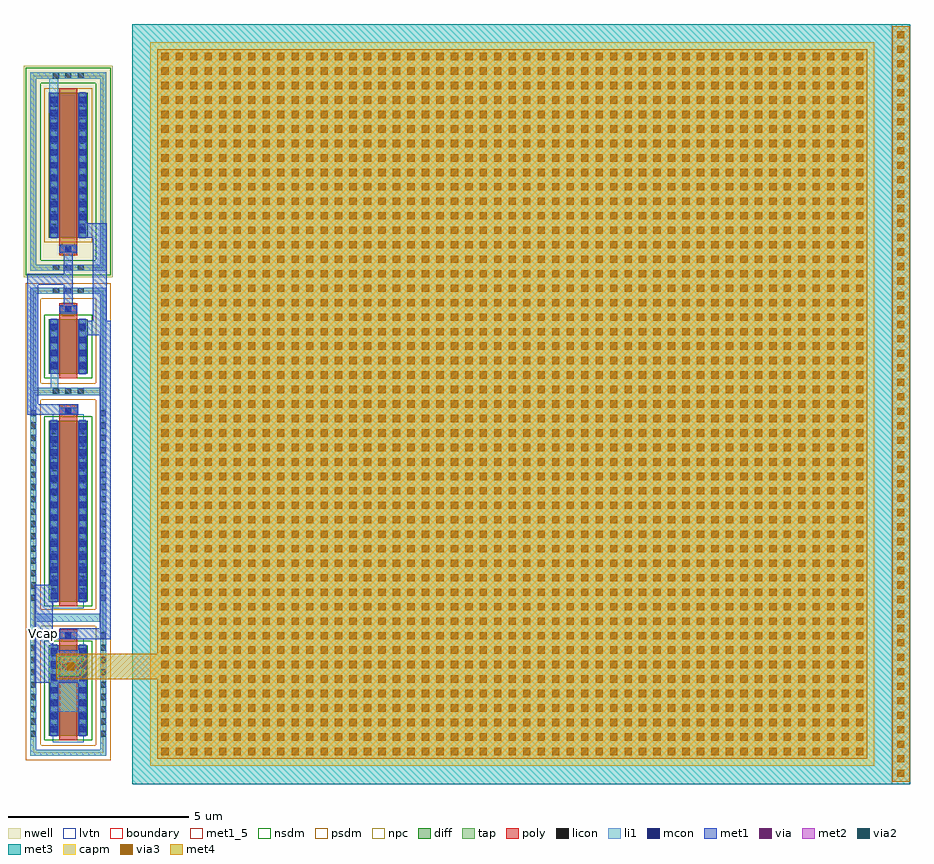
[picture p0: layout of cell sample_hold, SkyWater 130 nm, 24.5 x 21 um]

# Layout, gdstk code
import gdstk
lib = gdstk.Library(unit=1e-6, precision=1e-09)
def R(c, l, rs):  # rectangles x0, y0, x1, y1
    for r in rs: c.add(gdstk.rectangle(r[:2], r[2:], *l))
def A(c, l, x, y, w, h, nx, ny, dx, dy):  # array of equal rectangles
    R(c, l, [(x+i*dx, y+j*dy, x+i*dx+w, y+j*dy+h) for i in range(nx) for j in range(ny)])
nwell = (64, 20)
diff = (65, 20)
tap = (65, 44)
poly = (66, 20)
licon = (66, 44)
li1 = (67, 20)
mcon = (67, 44)
met1_5 = (68, 5)
met1 = (68, 20)
via = (68, 44)
met2 = (69, 20)
via2 = (69, 44)
met3 = (70, 20)
via3 = (70, 44)
met4 = (71, 20)
capm = (89, 44)
nsdm = (93, 44)
psdm = (94, 20)
npc = (95, 20)
lvtn = (125, 44)
boundary = (235, 4)

sky130_fd_pr__nfet_01v8_ = lib.new_cell('sky130_fd_pr__nfet_01v8_lvt_ZSX9YN')
R(sky130_fd_pr__nfet_01v8_, diff, [(-0.54,-2.655,0.54,2.345)])
R(sky130_fd_pr__nfet_01v8_, tap, [(-1.05,-3.215,1.05,-3.045), (-1.05,-3.045,-0.88,3.045), (0.88,-3.045,1.05,3.045), (-1.05,3.045,1.05,3.215)])
R(sky130_fd_pr__nfet_01v8_, poly, [(-0.25,-2.785,0.25,2.785)])
A(sky130_fd_pr__nfet_01v8_, licon, -1.05, -2.635, 0.17, 0.17, 1, 16, 0, 0.34)
A(sky130_fd_pr__nfet_01v8_, licon, 0.88, -2.635, 0.17, 0.17, 1, 16, 0, 0.34)
A(sky130_fd_pr__nfet_01v8_, licon, -0.48, -2.45, 0.17, 0.17, 1, 14, 0, 0.34)
A(sky130_fd_pr__nfet_01v8_, licon, 0.31, -2.45, 0.17, 0.17, 1, 14, 0, 0.34)
R(sky130_fd_pr__nfet_01v8_, licon, [(-0.085,2.535,0.085,2.705)])
R(sky130_fd_pr__nfet_01v8_, li1, [(-1.05,-3.215,1.05,-3.045), (-1.05,-3.045,-0.88,3.045), (0.88,-3.045,1.05,3.045), (-0.48,-2.675,-0.31,2.365), (0.31,-2.675,0.48,2.365), (-0.25,2.535,0.25,2.705), (-1.05,3.045,1.05,3.215)])
A(sky130_fd_pr__nfet_01v8_, mcon, -0.48, -2.58, 0.17, 0.17, 1, 14, 0, 0.36)
A(sky130_fd_pr__nfet_01v8_, mcon, 0.31, -2.58, 0.17, 0.17, 1, 14, 0, 0.36)
R(sky130_fd_pr__nfet_01v8_, mcon, [(-0.085,2.535,0.085,2.705)])
R(sky130_fd_pr__nfet_01v8_, met1, [(-0.51,-2.655,-0.28,2.345), (0.28,-2.655,0.51,2.345), (-0.23,2.505,0.23,2.735)])
R(sky130_fd_pr__nfet_01v8_, nsdm, [(-0.665,-2.78,0.665,2.47)])
R(sky130_fd_pr__nfet_01v8_, psdm, [(-1.175,-3.34,1.175,-2.92), (-1.175,-2.92,-0.755,2.92), (0.755,-2.92,1.175,2.92), (-1.175,2.92,1.175,3.34)])
R(sky130_fd_pr__nfet_01v8_, npc, [(-0.185,2.435,0.185,2.805)])
R(sky130_fd_pr__nfet_01v8_, lvtn, [(-0.43,-2.835,0.43,2.525)])
R(sky130_fd_pr__nfet_01v8_, boundary, [(-0.965,-3.13,0.965,3.13)])

c_sky130_fd_pr__nfet_01v8_ = lib.new_cell('sky130_fd_pr__nfet_01v8_lvt_XHV9AV')
R(c_sky130_fd_pr__nfet_01v8_, diff, [(-0.54,-1.405,0.54,1.095)])
R(c_sky130_fd_pr__nfet_01v8_, tap, [(-1.05,-1.965,1.05,-1.795), (-1.05,-1.795,-0.88,1.795), (0.88,-1.795,1.05,1.795), (-1.05,1.795,1.05,1.965)])
R(c_sky130_fd_pr__nfet_01v8_, poly, [(-0.25,-1.535,0.25,1.535)])
A(c_sky130_fd_pr__nfet_01v8_, licon, -1.05, -1.445, 0.17, 0.17, 1, 9, 0, 0.34)
A(c_sky130_fd_pr__nfet_01v8_, licon, 0.88, -1.445, 0.17, 0.17, 1, 9, 0, 0.34)
A(c_sky130_fd_pr__nfet_01v8_, licon, -0.48, -1.26, 0.17, 0.17, 1, 7, 0, 0.34)
A(c_sky130_fd_pr__nfet_01v8_, licon, 0.31, -1.26, 0.17, 0.17, 1, 7, 0, 0.34)
R(c_sky130_fd_pr__nfet_01v8_, licon, [(-0.085,1.285,0.085,1.455)])
R(c_sky130_fd_pr__nfet_01v8_, li1, [(-1.05,-1.965,1.05,-1.795), (-1.05,-1.795,-0.88,1.795), (0.88,-1.795,1.05,1.795), (-0.48,-1.425,-0.31,1.115), (0.31,-1.425,0.48,1.115), (-0.25,1.285,0.25,1.455), (-1.05,1.795,1.05,1.965)])
A(c_sky130_fd_pr__nfet_01v8_, mcon, -0.48, -1.32, 0.17, 0.17, 1, 7, 0, 0.36)
A(c_sky130_fd_pr__nfet_01v8_, mcon, 0.31, -1.32, 0.17, 0.17, 1, 7, 0, 0.36)
R(c_sky130_fd_pr__nfet_01v8_, mcon, [(-0.085,1.285,0.085,1.455)])
R(c_sky130_fd_pr__nfet_01v8_, met1, [(-0.51,-1.405,-0.28,1.095), (0.28,-1.405,0.51,1.095), (-0.23,1.255,0.23,1.485)])
R(c_sky130_fd_pr__nfet_01v8_, nsdm, [(-0.665,-1.53,0.665,1.22)])
R(c_sky130_fd_pr__nfet_01v8_, psdm, [(-1.175,-2.09,1.175,-1.67), (-1.175,-1.67,-0.755,1.67), (0.755,-1.67,1.175,1.67), (-1.175,1.67,1.175,2.09)])
R(c_sky130_fd_pr__nfet_01v8_, npc, [(-0.185,1.185,0.185,1.555)])
R(c_sky130_fd_pr__nfet_01v8_, lvtn, [(-0.43,-1.585,0.43,1.275)])
R(c_sky130_fd_pr__nfet_01v8_, boundary, [(-0.965,-1.88,0.965,1.88)])

sky130_fd_pr__cap_mim_m3 = lib.new_cell('sky130_fd_pr__cap_mim_m3_1_WXTTNJ')
R(sky130_fd_pr__cap_mim_m3, met3, [(-10.75,-10.5,10.745,10.5)])
A(sky130_fd_pr__cap_mim_m3, via3, 10.385, -10.3, 0.2, 0.2, 1, 52, 0, 0.4)
A(sky130_fd_pr__cap_mim_m3, via3, -9.95, -9.7, 0.2, 0.2, 49, 49, 0.4, 0.4)
R(sky130_fd_pr__cap_mim_m3, met4, [(10.245,-10.44,10.725,10.44), (-10.055,-9.805,9.555,9.805)])
R(sky130_fd_pr__cap_mim_m3, capm, [(-10.25,-10,9.75,10)])
R(sky130_fd_pr__cap_mim_m3, boundary, [(-10.75,-10.5,10.25,10.5)])

sky130_fd_pr__pfet_01v8_ = lib.new_cell('sky130_fd_pr__pfet_01v8_TSNZVH')
R(sky130_fd_pr__pfet_01v8_, nwell, [(-1.23,-2.92,1.23,2.92)])
R(sky130_fd_pr__pfet_01v8_, diff, [(-0.54,-1.82,0.54,2.18)])
R(sky130_fd_pr__pfet_01v8_, tap, [(-1.05,-2.74,1.05,-2.57), (-1.05,-2.57,-0.88,2.57), (0.88,-2.57,1.05,2.57), (-1.05,2.57,1.05,2.74)])
R(sky130_fd_pr__pfet_01v8_, poly, [(-0.25,-2.305,0.25,2.31)])
A(sky130_fd_pr__pfet_01v8_, licon, -0.425, -2.74, 0.17, 0.17, 3, 2, 0.34, 5.31)
A(sky130_fd_pr__pfet_01v8_, licon, -0.48, -1.605, 0.17, 0.17, 1, 11, 0, 0.34)
A(sky130_fd_pr__pfet_01v8_, licon, 0.31, -1.605, 0.17, 0.17, 1, 11, 0, 0.34)
R(sky130_fd_pr__pfet_01v8_, licon, [(-0.085,-2.225,0.085,-2.055)])
R(sky130_fd_pr__pfet_01v8_, li1, [(-1.05,-2.74,1.05,-2.57), (-1.05,-2.57,-0.88,2.57), (0.88,-2.57,1.05,2.57), (-0.25,-2.225,0.25,-2.055), (-0.48,-1.84,-0.31,2.2), (0.31,-1.84,0.48,2.2), (-1.05,2.57,1.05,2.74)])
A(sky130_fd_pr__pfet_01v8_, mcon, -0.48, -1.705, 0.17, 0.17, 1, 11, 0, 0.36)
A(sky130_fd_pr__pfet_01v8_, mcon, 0.31, -1.705, 0.17, 0.17, 1, 11, 0, 0.36)
R(sky130_fd_pr__pfet_01v8_, mcon, [(-0.085,-2.225,0.085,-2.055)])
R(sky130_fd_pr__pfet_01v8_, met1, [(-0.23,-2.255,0.23,-2.025), (-0.51,-1.82,-0.28,2.18), (0.28,-1.82,0.51,2.18)])
R(sky130_fd_pr__pfet_01v8_, nsdm, [(-1.175,-2.865,1.175,-2.445), (-1.175,-2.445,-0.755,2.445), (0.755,-2.445,1.175,2.445), (-1.175,2.445,1.175,2.865)])
R(sky130_fd_pr__pfet_01v8_, psdm, [(-0.665,-1.945,0.665,2.305)])
R(sky130_fd_pr__pfet_01v8_, npc, [(-0.185,-2.325,0.185,-1.955)])
R(sky130_fd_pr__pfet_01v8_, boundary, [(-0.965,-2.655,0.965,2.655)])

c_sky130_fd_pr__nfet_01v8__ = lib.new_cell('sky130_fd_pr__nfet_01v8_Y5UG24')
R(c_sky130_fd_pr__nfet_01v8__, diff, [(-0.54,-0.905,0.54,0.595)])
R(c_sky130_fd_pr__nfet_01v8__, tap, [(-1.05,-1.465,1.05,-1.295), (-1.05,-1.295,-0.88,1.295), (0.88,-1.295,1.05,1.295), (-1.05,1.295,1.05,1.465)])
R(c_sky130_fd_pr__nfet_01v8__, poly, [(-0.25,-1.035,0.25,1.035)])
A(c_sky130_fd_pr__nfet_01v8__, licon, -0.425, -1.465, 0.17, 0.17, 3, 2, 0.34, 2.76)
A(c_sky130_fd_pr__nfet_01v8__, licon, -0.48, -0.75, 0.17, 0.17, 1, 4, 0, 0.34)
A(c_sky130_fd_pr__nfet_01v8__, licon, 0.31, -0.75, 0.17, 0.17, 1, 4, 0, 0.34)
R(c_sky130_fd_pr__nfet_01v8__, licon, [(-0.085,0.785,0.085,0.955)])
R(c_sky130_fd_pr__nfet_01v8__, li1, [(-1.05,-1.465,1.05,-1.295), (-1.05,-1.295,-0.88,1.295), (0.88,-1.295,1.05,1.295), (-0.48,-0.925,-0.31,0.615), (0.31,-0.925,0.48,0.615), (-0.25,0.785,0.25,0.955), (-1.05,1.295,1.05,1.465)])
A(c_sky130_fd_pr__nfet_01v8__, mcon, -0.48, -0.78, 0.17, 0.17, 1, 4, 0, 0.36)
A(c_sky130_fd_pr__nfet_01v8__, mcon, 0.31, -0.78, 0.17, 0.17, 1, 4, 0, 0.36)
R(c_sky130_fd_pr__nfet_01v8__, mcon, [(-0.085,0.785,0.085,0.955)])
R(c_sky130_fd_pr__nfet_01v8__, met1, [(-0.51,-0.905,-0.28,0.595), (0.28,-0.905,0.51,0.595), (-0.23,0.755,0.23,0.985)])
R(c_sky130_fd_pr__nfet_01v8__, nsdm, [(-0.665,-1.03,0.665,0.72)])
R(c_sky130_fd_pr__nfet_01v8__, psdm, [(-1.175,-1.59,1.175,-1.17), (-1.175,-1.17,-0.755,1.17), (0.755,-1.17,1.175,1.17), (-1.175,1.17,1.175,1.59)])
R(c_sky130_fd_pr__nfet_01v8__, npc, [(-0.185,0.685,0.185,1.055)])
R(c_sky130_fd_pr__nfet_01v8__, boundary, [(-0.965,-1.38,0.965,1.38)])

inv = lib.new_cell('inv')
R(inv, li1, [(0.45,-3.6,0.65,-2.6), (0.4,4.15,0.65,5.2)])
R(inv, met1, [(1.2,-2,2,-1.6), (1.6,-1.6,2,0.7), (0.8,-1.35,1.05,0.45), (1.2,0.7,2,1.1)])
inv.add(gdstk.Reference(sky130_fd_pr__pfet_01v8_, (0.93,2.52)))
inv.add(gdstk.Reference(c_sky130_fd_pr__nfet_01v8__, (0.93,-2.155)))

sample_hold = lib.new_cell('sample_hold')
R(sample_hold, li1, [(26.8,1,27.7,2.3)])
R(sample_hold, met1_5, [(26.3,1.8,26.8,4.5)])
R(sample_hold, met1, [(26.3,1.8,27.7,2.7), (26.3,2.7,26.8,4.5), (27,3,28.4,3.3), (28.1,3.3,28.4,11.8), (26.1,9.2,27.5,9.5), (26.1,9.5,26.4,12.8), (26.1,12.8,27.3,13.1)])
R(sample_hold, via, [(27.065,2.175,27.215,2.325), (27.385,2.175,27.535,2.325)])
R(sample_hold, met2, [(27,1.95,27.6,2.55)])
R(sample_hold, via2, [(27.2,2.15,27.4,2.35)])
R(sample_hold, met3, [(26.95,1.975,27.65,2.525)])
R(sample_hold, via3, [(27.2,2.15,27.4,2.35)])
R(sample_hold, met4, [(26.9,1.9,30.3,2.6)])
sample_hold.add(gdstk.Reference(sky130_fd_pr__nfet_01v8_, (27.23,6.695)))
sample_hold.add(gdstk.Reference(c_sky130_fd_pr__nfet_01v8_, (27.23,1.745)))
sample_hold.add(gdstk.Reference(sky130_fd_pr__cap_mim_m3, (39.75,9.5)))
sample_hold.add(gdstk.Reference(inv, (26.3,13.4)))
sample_hold.add(gdstk.Label('Vcap', (26.55,3.15), layer=68, texttype=5))

lib.write_gds('sample_hold.gds')
